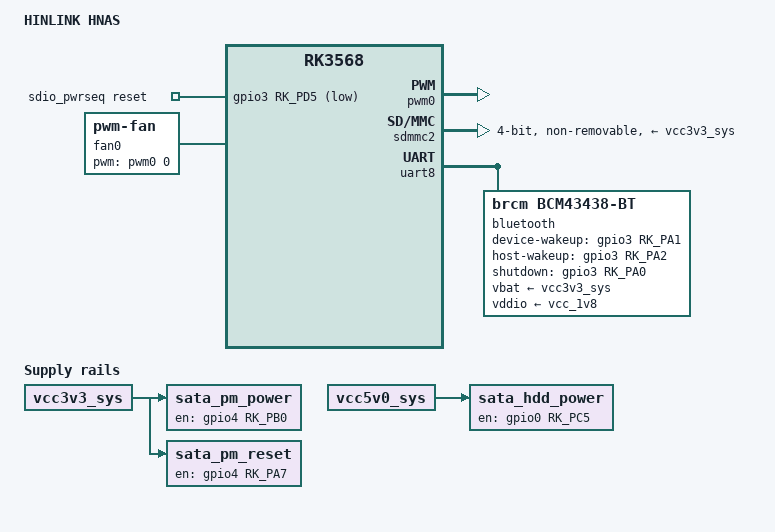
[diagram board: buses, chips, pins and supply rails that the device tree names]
// SPDX-License-Identifier: (GPL-2.0+ OR MIT)
// Copyright (c) 2022 AmadeusGhost <amadeus@jmu.edu.cn>
// Copyright (c) 2022 Flippy <flippy@sina.com>
// Copyright (c) 2023 amazingfate <liujianfeng1994@gmail.com>

/dts-v1/;

#include "rk3568-hinlink-h68k.dts"

/ {
	model = "HINLINK HNAS";
	compatible = "hinlink,hnas", "rockchip,rk3568";

	sdio_pwrseq: sdio-pwrseq {
		compatible = "mmc-pwrseq-simple";
		clocks = <&rk809 1>;
		clock-names = "ext_clock";
		pinctrl-names = "default";
		pinctrl-0 = <&wifi_enable>;
		post-power-on-delay-ms = <100>;
		power-off-delay-us = <5000000>;
		reset-gpios = <&gpio3 RK_PD5 GPIO_ACTIVE_LOW>;
	};

	fan0: pwm-fan {
		compatible = "pwm-fan";
		#cooling-cells = <2>;
		cooling-levels = <8 39 70 100 131 162 193 224 255>;
		pwms = <&pwm0 0 10000 0>;
	};

	hdd_leds {
		led_hdd1: led-hdd1 {
			pinctrl-names = "default";
			pinctrl-0 = <&led_hdd1_pin>;
			label = "led:hdd1";
			gpios = <&gpio3 RK_PB6 GPIO_ACTIVE_HIGH>;
		};

		led_hdd2: led-hdd2 {
			pinctrl-names = "default";
			pinctrl-0 = <&led_hdd2_pin>;
			label = "led:hdd2";
			gpios = <&gpio3 RK_PB5 GPIO_ACTIVE_HIGH>;
		};

		led_hdd3: led-hdd3 {
			pinctrl-names = "default";
			pinctrl-0 = <&led_hdd3_pin>;
			label = "led:hdd3";
			gpios = <&gpio3 RK_PB2 GPIO_ACTIVE_HIGH>;
		};

		led_hdd4: led-hdd4 {
			pinctrl-names = "default";
			pinctrl-0 = <&led_hdd4_pin>;
			label = "led:hdd4";
			gpios = <&gpio3 RK_PB1 GPIO_ACTIVE_HIGH>;
		};
	};

	sata_pm_power: sata-pm-power {
		compatible = "regulator-fixed";
		regulator-name = "sata_pm_power";
		regulator-enable-ramp-delay = <1000000>;
		regulator-always-on;
		regulator-boot-on;

		enable-active-high;
		gpio = <&gpio4 RK_PB0 GPIO_ACTIVE_HIGH>;

		pinctrl-names = "default";
		pinctrl-0 = <&sata_pm_power_en>;
		vin-supply = <&vcc3v3_sys>;
	};

	sata_pm_reset: sata-pm-reset {
		compatible = "regulator-fixed";
		regulator-name = "sata_pm_reset";
		regulator-enable-ramp-delay = <1000000>;
		regulator-always-on;
		regulator-boot-on;

		enable-active-high;
		gpio = <&gpio4 RK_PA7 GPIO_ACTIVE_HIGH>;

		pinctrl-names = "default";
		pinctrl-0 = <&sata_pm_reset_en>;
		vin-supply = <&vcc3v3_sys>;
	};

	sata_hdd_power: sata-hdd-power {
		compatible = "regulator-fixed";
		regulator-name = "sata_hdd_power";
		regulator-enable-ramp-delay = <1000000>;
		regulator-always-on;
		regulator-boot-on;

		enable-active-high;
		gpio = <&gpio0 RK_PC5 GPIO_ACTIVE_HIGH>;

		pinctrl-names = "default";
		pinctrl-0 = <&sata_hdd_power_en>;
		vin-supply = <&vcc5v0_sys>;
	};
};

&gmac0 {
	status = "disabled";
};

&gmac1 {
	status = "disabled";
};

&pinctrl {
	hdd-leds {
		led_hdd1_pin: led-hdd1-pin {
			rockchip,pins = <3 RK_PB6 RK_FUNC_GPIO &pcfg_pull_none>;
		};

		led_hdd2_pin: led-hdd2-pin {
			rockchip,pins = <3 RK_PB5 RK_FUNC_GPIO &pcfg_pull_none>;
		};

		led_hdd3_pin: led-hdd3-pin {
			rockchip,pins = <3 RK_PB2 RK_FUNC_GPIO &pcfg_pull_none>;
		};

		led_hdd4_pin: led-hdd4-pin {
			rockchip,pins = <3 RK_PB1 RK_FUNC_GPIO &pcfg_pull_none>;
		};
	};

	sata-pm {
		sata_pm_power_en: sata-pm-power-en {
			rockchip,pins = <4 RK_PB0 RK_FUNC_GPIO &pcfg_pull_down>;
		};

		sata_pm_reset_en: sata-pm-reset-en {
			rockchip,pins = <4 RK_PA7 RK_FUNC_GPIO &pcfg_pull_down>;
		};

		sata_hdd_power_en: sata-hdd-power-en {
			rockchip,pins = <0 RK_PC5 RK_FUNC_GPIO &pcfg_pull_down>;
		};
	};

	bt {
		bt_enable: bt-enable {
			rockchip,pins = <3 RK_PA0 RK_FUNC_GPIO &pcfg_pull_none>;
		};

		bt_host_wake: bt-host-wake {
			rockchip,pins = <3 RK_PA2 RK_FUNC_GPIO &pcfg_pull_down>;
		};

		bt_wake: bt-wake {
			rockchip,pins = <3 RK_PA1 RK_FUNC_GPIO &pcfg_pull_none>;
		};
	};

	sdio-pwrseq {
		wifi_enable: wifi-enable {
			rockchip,pins = <3 RK_PD5 RK_FUNC_GPIO &pcfg_pull_none>;
		};
	};
};

&pwm0 {
	status = "okay";
};

&sdmmc2 {
	bus-width = <4>;
	disable-wp;
	cap-sd-highspeed;
	cap-sdio-irq;
	keep-power-in-suspend;
	mmc-pwrseq = <&sdio_pwrseq>;
	non-removable;
	pinctrl-names = "default";
	pinctrl-0 = <&sdmmc2m0_bus4 &sdmmc2m0_cmd &sdmmc2m0_det &sdmmc2m0_clk>;
	sd-uhs-sdr12;
	sd-uhs-sdr25;
	sd-uhs-sdr50;
	sd-uhs-sdr104;
	vmmc-supply = <&vcc3v3_sys>;
	vqmmc-supply = <&vcc_1v8>;
	status = "okay";
};

/* bluetooth on m.2 slot */
&uart8 {
	pinctrl-names = "default";
	pinctrl-0 = <&uart8m0_xfer &uart8m0_ctsn &uart8m0_rtsn>;
	uart-has-rtscts;
	status = "okay";

	bluetooth {
		compatible = "brcm,bcm43438-bt";
		clocks = <&rk809 1>;
		clock-names = "lpo";
		device-wakeup-gpios = <&gpio3 RK_PA1 GPIO_ACTIVE_HIGH>;
		host-wakeup-gpios = <&gpio3 RK_PA2 GPIO_ACTIVE_HIGH>;
		shutdown-gpios = <&gpio3 RK_PA0 GPIO_ACTIVE_HIGH>;
		pinctrl-names = "default";
		pinctrl-0 = <&bt_host_wake &bt_wake &bt_enable>;
		vbat-supply = <&vcc3v3_sys>;
		vddio-supply = <&vcc_1v8>;
		/* vddio comes from regulator on module, use IO bank voltage instead */
	};
};

&cpu_thermal {
	trips {
		trip0: trip-point@0 {
			temperature = <45000>;
			hysteresis = <5000>;
			type = "active";
		};
		trip1: trip-point@1 {
			temperature = <50000>;
			hysteresis = <5000>;
			type = "active";
		};
		trip2: trip-point@2 {
			temperature = <55000>;
			hysteresis = <5000>;
			type = "active";
		};
		trip3: trip-point@3 {
			temperature = <60000>;
			hysteresis = <5000>;
			type = "active";
		};
		trip4: trip-point@4 {
			temperature = <65000>;
			hysteresis = <5000>;
			type = "active";
		};
		trip5: trip-point@5 {
			temperature = <70000>;
			hysteresis = <5000>;
			type = "active";
		};
		trip6: trip-point@6 {
			temperature = <75000>;
			hysteresis = <5000>;
			type = "active";
		};
		trip7: trip-point@7 {
			temperature = <80000>;
			hysteresis = <1000>;
			type = "active";
		};
	};
	cooling-maps {
		map0 {
			trip = <&trip0>;
			cooling-device = <&fan0 0 1>;
			contribution = <1024>;
		};
		map1 {
			trip = <&trip1>;
			cooling-device = <&fan0 1 2>;
			contribution = <1024>;
		};
		map2 {
			trip = <&trip2>;
			cooling-device = <&fan0 2 3>;
			contribution = <1024>;
		};
		map3 {
			trip = <&trip3>;
			cooling-device = <&fan0 3 4>;
			contribution = <1024>;
		};
		map4 {
			trip = <&trip4>;
			cooling-device = <&fan0 4 5>;
			contribution = <1024>;
		};
		map5 {
			trip = <&trip5>;
			cooling-device = <&fan0 5 6>;
			contribution = <1024>;
		};
		map6 {
			trip = <&trip6>;
			cooling-device = <&fan0 6 7>;
			contribution = <1024>;
		};
		map7 {
			trip = <&trip7>;
			cooling-device = <&fan0 7 8>;
			contribution = <1024>;
		};
	};
};
